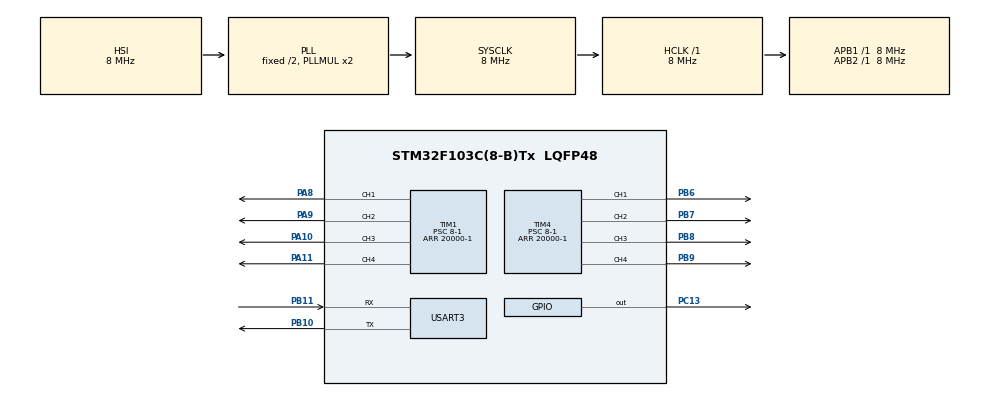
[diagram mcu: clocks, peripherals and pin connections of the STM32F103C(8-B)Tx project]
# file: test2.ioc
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Mcu.Family=STM32F1
Mcu.Name=STM32F103C(8-B)Tx
Mcu.Package=LQFP48
NVIC.PriorityGroup=NVIC_PRIORITYGROUP_4
NVIC.USART3_IRQn=true\:0\:0\:false\:false\:true\:true\:true
PA10.Signal=S_TIM1_CH3
PA11.Signal=S_TIM1_CH4
PA13.Mode=Serial_Wire
PA13.Signal=SYS_JTMS-SWDIO
PA14.Mode=Serial_Wire
PA14.Signal=SYS_JTCK-SWCLK
PA8.Signal=S_TIM1_CH1
PA9.Signal=S_TIM1_CH2
PB10.Mode=Asynchronous
PB10.Signal=USART3_TX
PB11.Mode=Asynchronous
PB11.Signal=USART3_RX
PB6.Signal=S_TIM4_CH1
PB7.Signal=S_TIM4_CH2
PB8.Signal=S_TIM4_CH3
PB9.Signal=S_TIM4_CH4
PC13-TAMPER-RTC.Signal=GPIO_Output
PC14-OSC32_IN.Mode=LSE-External-Oscillator
PC14-OSC32_IN.Signal=RCC_OSC32_IN
PC15-OSC32_OUT.Mode=LSE-External-Oscillator
PC15-OSC32_OUT.Signal=RCC_OSC32_OUT
PD0-OSC_IN.Mode=HSE-External-Oscillator
PD0-OSC_IN.Signal=RCC_OSC_IN
PD1-OSC_OUT.Mode=HSE-External-Oscillator
PD1-OSC_OUT.Signal=RCC_OSC_OUT
ProjectManager.HeapSize=0x200
ProjectManager.StackSize=0x400
ProjectManager.TargetToolchain=SW4STM32
RCC.AHBFreq_Value=8000000
RCC.APB1Freq_Value=8000000
RCC.APB1TimFreq_Value=8000000
RCC.APB2Freq_Value=8000000
RCC.APB2TimFreq_Value=8000000
RCC.HCLKFreq_Value=8000000
RCC.SYSCLKFreq_VALUE=8000000
RCC.SYSCLKSource=RCC_SYSCLKSOURCE_PLLCLK
RCC.USBFreq_Value=8000000
SH.S_TIM1_CH1.0=TIM1_CH1,PWM Generation1 CH1
SH.S_TIM1_CH2.0=TIM1_CH2,PWM Generation2 CH2
SH.S_TIM1_CH3.0=TIM1_CH3,PWM Generation3 CH3
SH.S_TIM1_CH4.0=TIM1_CH4,PWM Generation4 CH4
SH.S_TIM4_CH1.0=TIM4_CH1,PWM Generation1 CH1
SH.S_TIM4_CH2.0=TIM4_CH2,PWM Generation2 CH2
SH.S_TIM4_CH3.0=TIM4_CH3,PWM Generation3 CH3
SH.S_TIM4_CH4.0=TIM4_CH4,PWM Generation4 CH4
TIM1.Channel-PWM\ Generation1\ CH1=TIM_CHANNEL_1
TIM1.Channel-PWM\ Generation2\ CH2=TIM_CHANNEL_2
TIM1.Channel-PWM\ Generation3\ CH3=TIM_CHANNEL_3
TIM1.Channel-PWM\ Generation4\ CH4=TIM_CHANNEL_4
TIM1.OCMode_PWM-PWM\ Generation1\ CH1=TIM_OCMODE_PWM2
TIM1.OCMode_PWM-PWM\ Generation2\ CH2=TIM_OCMODE_PWM2
TIM1.OCMode_PWM-PWM\ Generation3\ CH3=TIM_OCMODE_PWM2
TIM1.OCMode_PWM-PWM\ Generation4\ CH4=TIM_OCMODE_PWM2
TIM1.OCPolarity_1=TIM_OCPOLARITY_LOW
TIM1.OCPolarity_2=TIM_OCPOLARITY_LOW
TIM1.OCPolarity_3=TIM_OCPOLARITY_LOW
TIM1.OCPolarity_4=TIM_OCPOLARITY_LOW
TIM1.Period=20000-1
TIM1.Prescaler=8-1
TIM1.Pulse-PWM\ Generation1\ CH1=2000
TIM1.Pulse-PWM\ Generation2\ CH2=2000
TIM1.Pulse-PWM\ Generation3\ CH3=2000
TIM1.Pulse-PWM\ Generation4\ CH4=2000
TIM4.Channel-PWM\ Generation1\ CH1=TIM_CHANNEL_1
TIM4.Channel-PWM\ Generation2\ CH2=TIM_CHANNEL_2
TIM4.Channel-PWM\ Generation3\ CH3=TIM_CHANNEL_3
TIM4.Channel-PWM\ Generation4\ CH4=TIM_CHANNEL_4
TIM4.Period=20000-1
TIM4.Prescaler=8-1
TIM4.Pulse-PWM\ Generation1\ CH1=2000
TIM4.Pulse-PWM\ Generation2\ CH2=2000
TIM4.Pulse-PWM\ Generation3\ CH3=2000
TIM4.Pulse-PWM\ Generation4\ CH4=2000
USART3.VirtualMode=VM_ASYNC
board=custom

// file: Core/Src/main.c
/* USER CODE BEGIN Header */
/**
  ******************************************************************************
  * @file           : main.c
  * @brief          : Main program body
  ******************************************************************************
  * @attention
  *
  * Copyright (c) 2022 STMicroelectronics.
  * All rights reserved.
  *
  * This software is licensed under terms that can be found in the LICENSE file
  * in the root directory of this software component.
  * If no LICENSE file comes with this software, it is provided AS-IS.
  *
  ******************************************************************************
  */
/* USER CODE END Header */
#include "main.h"

TIM_HandleTypeDef htim1;
TIM_HandleTypeDef htim4;

UART_HandleTypeDef huart3;

/* USER CODE BEGIN PV */

FIFO_One_str One_str;

Pos_Servo ServoA={
		.letter_Servo='A',
		.htim=SERVO_A_HTIM1,
		.pinEn = SERVO_A_CHANNEL1,
		.Min=0,
		.Max=105,
		.current=700,
		.new_angle=1000,
		.defta=1,
};

Pos_Servo ServoB={
		.letter_Servo='B',
		.htim=SERVO_A_HTIM1,
		.pinEn = SERVO_A_CHANNEL2,
		.Min=30,
		.Max=95,
		.current=700,
		.new_angle=1000,
		.defta=1,
};

Pos_Servo ServoC={
		.letter_Servo='C',
		.htim=SERVO_A_HTIM1,
		.pinEn = SERVO_A_CHANNEL3,
		.Min=20,
		.Max=80,
		.current=700,
		.new_angle=1000,
		.defta=1,
};

Pos_Servo ServoD={
		.letter_Servo='D',
		.htim=SERVO_A_HTIM4,
		.pinEn = SERVO_A_CHANNEL1,
		.Min=0,
		.Max=110,
		.current=520,
		.new_angle=1000,
		.defta=1,
};

Pos_Servo ServoE={

		.letter_Servo='E',
		.htim=SERVO_A_HTIM4,
		.pinEn = SERVO_A_CHANNEL2,
		.Min=10,
		.Max=140,
		.current=520,
		.new_angle=1000,
		.defta=1,
};

Pos_Servo ServoF={
		.letter_Servo='F',
		.htim=SERVO_A_HTIM4,
		.pinEn = SERVO_A_CHANNEL3,
		.Min=0,
		.Max=145,
		.current=520,
		.new_angle=1000,
		.defta=1,
};

FIFO_Buf buf = {
	.len = 100,
	.posRead = 0,
	.posWrite = 0,
	.Chek = 0,
};

/* USER CODE END PV */

void SystemClock_Config(void);
static void MX_GPIO_Init(void);
static void MX_USART3_UART_Init(void);
static void MX_TIM1_Init(void);
static void MX_TIM4_Init(void);
/* USER CODE BEGIN PFP */

uint8_t Buf_Read(FIFO_Buf *buf);
void Buf_Write(FIFO_Buf *buf, uint8_t data);
uint8_t Check_Buf(FIFO_Buf *buf);
uint8_t Parser_Buf(FIFO_Buf *buf);
uint8_t Servo_Control(Pos_Servo *Pos_Servo);
void setPWM(uint16_t value, Pos_Servo *Servo);
uint16_t Transfer_To_The_Range(uint8_t angel , uint8_t Min, uint8_t Max);
void Servo_Processing(Pos_Servo *Servo, uint8_t *v);

void Read_Buf_Str(FIFO_Buf *buf, FIFO_One_str *str);
//void Read_Comand(FIFO_Buf *buf);

/* USER CODE END PFP */

int main(void)
{

  /* MCU Configuration--------------------------------------------------------*/

  /* Reset of all peripherals, Initializes the Flash interface and the Systick. */
  HAL_Init();

  /* Configure the system clock */
  SystemClock_Config();

  /* Initialize all configured peripherals */
  MX_GPIO_Init();
  MX_USART3_UART_Init();
  MX_TIM1_Init();
  MX_TIM4_Init();
  /* USER CODE BEGIN 2 */

    HAL_TIM_PWM_Start(&htim1, TIM_CHANNEL_1); // ServoA.htim, ServoA.pinEn);
    HAL_TIM_PWM_Start(&htim1, TIM_CHANNEL_2);
    HAL_TIM_PWM_Start(&htim1, TIM_CHANNEL_3);
    HAL_TIM_PWM_Start(&htim1, TIM_CHANNEL_4);

    HAL_TIM_PWM_Start(&htim4, TIM_CHANNEL_1);
    HAL_TIM_PWM_Start(&htim4, TIM_CHANNEL_2);
    HAL_TIM_PWM_Start(&htim4, TIM_CHANNEL_3);
    HAL_TIM_PWM_Start(&htim4, TIM_CHANNEL_4);

	USART3 -> CR1 |= USART_CR1_RXNEIE;

  /* USER CODE END 2 */

  /* Infinite loop */
  /* USER CODE BEGIN WHILE */

  while (1)
  {

   //получение строки из кольцевого буфера

	if(buf.Chek>0){
		Read_Buf_Str(&buf,&One_str);
	}

	//парсер команды, запись команд в определенные структуры

	if(buf.Chek>0){
	  Parser_Buf(&buf);
	}

	//обработка сервисных команд

	//проверка наличия новых положения сервоприводов

	Servo_Control(&ServoA);
	Servo_Control(&ServoB);
	Servo_Control(&ServoC);
	Servo_Control(&ServoD);
	Servo_Control(&ServoE);
	Servo_Control(&ServoF);

	//проверка для верхнего уровня

    /* USER CODE END WHILE */

  }
}

void SystemClock_Config(void)
{
  RCC_OscInitTypeDef RCC_OscInitStruct = {0};
  RCC_ClkInitTypeDef RCC_ClkInitStruct = {0};

  /** Initializes the RCC Oscillators according to the specified parameters
  * in the RCC_OscInitTypeDef structure.
  */
  RCC_OscInitStruct.OscillatorType = RCC_OSCILLATORTYPE_HSI;
  RCC_OscInitStruct.HSIState = RCC_HSI_ON;
  RCC_OscInitStruct.HSICalibrationValue = RCC_HSICALIBRATION_DEFAULT;
  RCC_OscInitStruct.PLL.PLLState = RCC_PLL_ON;
  RCC_OscInitStruct.PLL.PLLSource = RCC_PLLSOURCE_HSI_DIV2;
  RCC_OscInitStruct.PLL.PLLMUL = RCC_PLL_MUL2;
  if (HAL_RCC_OscConfig(&RCC_OscInitStruct) != HAL_OK)
  {
    Error_Handler();
  }
  /** Initializes the CPU, AHB and APB buses clocks
  */
  RCC_ClkInitStruct.ClockType = RCC_CLOCKTYPE_HCLK|RCC_CLOCKTYPE_SYSCLK
                              |RCC_CLOCKTYPE_PCLK1|RCC_CLOCKTYPE_PCLK2;
  RCC_ClkInitStruct.SYSCLKSource = RCC_SYSCLKSOURCE_PLLCLK;
  RCC_ClkInitStruct.AHBCLKDivider = RCC_SYSCLK_DIV1;
  RCC_ClkInitStruct.APB1CLKDivider = RCC_HCLK_DIV1;
  RCC_ClkInitStruct.APB2CLKDivider = RCC_HCLK_DIV1;

  if (HAL_RCC_ClockConfig(&RCC_ClkInitStruct, FLASH_LATENCY_0) != HAL_OK)
  {
    Error_Handler();
  }
}

static void MX_TIM1_Init(void)
{

  TIM_MasterConfigTypeDef sMasterConfig = {0};
  TIM_OC_InitTypeDef sConfigOC = {0};
  TIM_BreakDeadTimeConfigTypeDef sBreakDeadTimeConfig = {0};

  htim1.Instance = TIM1;
  htim1.Init.Prescaler = 8-1;
  htim1.Init.CounterMode = TIM_COUNTERMODE_UP;
  htim1.Init.Period = 20000-1;
  htim1.Init.ClockDivision = TIM_CLOCKDIVISION_DIV1;
  htim1.Init.RepetitionCounter = 0;
  htim1.Init.AutoReloadPreload = TIM_AUTORELOAD_PRELOAD_DISABLE;
  if (HAL_TIM_PWM_Init(&htim1) != HAL_OK)
  {
    Error_Handler();
  }
  sMasterConfig.MasterOutputTrigger = TIM_TRGO_RESET;
  sMasterConfig.MasterSlaveMode = TIM_MASTERSLAVEMODE_DISABLE;
  if (HAL_TIMEx_MasterConfigSynchronization(&htim1, &sMasterConfig) != HAL_OK)
  {
    Error_Handler();
  }
  sConfigOC.OCMode = TIM_OCMODE_PWM2;
  sConfigOC.Pulse = 2000;
  sConfigOC.OCPolarity = TIM_OCPOLARITY_LOW;
  sConfigOC.OCNPolarity = TIM_OCNPOLARITY_HIGH;
  sConfigOC.OCFastMode = TIM_OCFAST_DISABLE;
  sConfigOC.OCIdleState = TIM_OCIDLESTATE_RESET;
  sConfigOC.OCNIdleState = TIM_OCNIDLESTATE_RESET;
  if (HAL_TIM_PWM_ConfigChannel(&htim1, &sConfigOC, TIM_CHANNEL_1) != HAL_OK)
  {
    Error_Handler();
  }
  if (HAL_TIM_PWM_ConfigChannel(&htim1, &sConfigOC, TIM_CHANNEL_2) != HAL_OK)
  {
    Error_Handler();
  }
  if (HAL_TIM_PWM_ConfigChannel(&htim1, &sConfigOC, TIM_CHANNEL_3) != HAL_OK)
  {
    Error_Handler();
  }
  if (HAL_TIM_PWM_ConfigChannel(&htim1, &sConfigOC, TIM_CHANNEL_4) != HAL_OK)
  {
    Error_Handler();
  }
  sBreakDeadTimeConfig.OffStateRunMode = TIM_OSSR_DISABLE;
  sBreakDeadTimeConfig.OffStateIDLEMode = TIM_OSSI_DISABLE;
  sBreakDeadTimeConfig.LockLevel = TIM_LOCKLEVEL_OFF;
  sBreakDeadTimeConfig.DeadTime = 0;
  sBreakDeadTimeConfig.BreakState = TIM_BREAK_DISABLE;
  sBreakDeadTimeConfig.BreakPolarity = TIM_BREAKPOLARITY_HIGH;
  sBreakDeadTimeConfig.AutomaticOutput = TIM_AUTOMATICOUTPUT_DISABLE;
  if (HAL_TIMEx_ConfigBreakDeadTime(&htim1, &sBreakDeadTimeConfig) != HAL_OK)
  {
    Error_Handler();
  }
  HAL_TIM_MspPostInit(&htim1);

}

static void MX_TIM4_Init(void)
{

  TIM_MasterConfigTypeDef sMasterConfig = {0};
  TIM_OC_InitTypeDef sConfigOC = {0};

  htim4.Instance = TIM4;
  htim4.Init.Prescaler = 8-1;
  htim4.Init.CounterMode = TIM_COUNTERMODE_UP;
  htim4.Init.Period = 20000-1;
  htim4.Init.ClockDivision = TIM_CLOCKDIVISION_DIV1;
  htim4.Init.AutoReloadPreload = TIM_AUTORELOAD_PRELOAD_DISABLE;
  if (HAL_TIM_PWM_Init(&htim4) != HAL_OK)
  {
    Error_Handler();
  }
  sMasterConfig.MasterOutputTrigger = TIM_TRGO_RESET;
  sMasterConfig.MasterSlaveMode = TIM_MASTERSLAVEMODE_DISABLE;
  if (HAL_TIMEx_MasterConfigSynchronization(&htim4, &sMasterConfig) != HAL_OK)
  {
    Error_Handler();
  }
  sConfigOC.OCMode = TIM_OCMODE_PWM1;
  sConfigOC.Pulse = 2000;
  sConfigOC.OCPolarity = TIM_OCPOLARITY_HIGH;
  sConfigOC.OCFastMode = TIM_OCFAST_DISABLE;
  if (HAL_TIM_PWM_ConfigChannel(&htim4, &sConfigOC, TIM_CHANNEL_1) != HAL_OK)
  {
    Error_Handler();
  }
  if (HAL_TIM_PWM_ConfigChannel(&htim4, &sConfigOC, TIM_CHANNEL_2) != HAL_OK)
  {
    Error_Handler();
  }
  if (HAL_TIM_PWM_ConfigChannel(&htim4, &sConfigOC, TIM_CHANNEL_3) != HAL_OK)
  {
    Error_Handler();
  }
  if (HAL_TIM_PWM_ConfigChannel(&htim4, &sConfigOC, TIM_CHANNEL_4) != HAL_OK)
  {
    Error_Handler();
  }
  HAL_TIM_MspPostInit(&htim4);

}

static void MX_USART3_UART_Init(void)
{

  huart3.Instance = USART3;
  huart3.Init.BaudRate = 115200;
  huart3.Init.WordLength = UART_WORDLENGTH_8B;
  huart3.Init.StopBits = UART_STOPBITS_1;
  huart3.Init.Parity = UART_PARITY_NONE;
  huart3.Init.Mode = UART_MODE_TX_RX;
  huart3.Init.HwFlowCtl = UART_HWCONTROL_NONE;
  huart3.Init.OverSampling = UART_OVERSAMPLING_16;
  if (HAL_UART_Init(&huart3) != HAL_OK)
  {
    Error_Handler();
  }

}

static void MX_GPIO_Init(void)
{
  GPIO_InitTypeDef GPIO_InitStruct = {0};

  /* GPIO Ports Clock Enable */
  __HAL_RCC_GPIOC_CLK_ENABLE();
  __HAL_RCC_GPIOD_CLK_ENABLE();
  __HAL_RCC_GPIOB_CLK_ENABLE();
  __HAL_RCC_GPIOA_CLK_ENABLE();

  /*Configure GPIO pin Output Level */
  HAL_GPIO_WritePin(GPIOC, GPIO_PIN_13, GPIO_PIN_RESET);

  /*Configure GPIO pin : PC13 */
  GPIO_InitStruct.Pin = GPIO_PIN_13;
  GPIO_InitStruct.Mode = GPIO_MODE_OUTPUT_PP;
  GPIO_InitStruct.Pull = GPIO_NOPULL;
  GPIO_InitStruct.Speed = GPIO_SPEED_FREQ_LOW;
  HAL_GPIO_Init(GPIOC, &GPIO_InitStruct);

}

/* USER CODE BEGIN 4 */
void Servo_Processing(Pos_Servo *Servo, uint8_t *angle)
{
	 if(Servo->Max <= *angle){
		*angle=Servo->Max;
	}
	else if(Servo->Min >= *angle){
		*angle=Servo->Min;
	}
	Servo->new_angle=Transfer_To_The_Range(*angle , 0, 180);
	*angle=0;
}
uint8_t Parser_Buf(FIFO_Buf *buf){

	buf->Chek=0;
	uint8_t i = 0;
	uint8_t v = 0;
	while((buf->bufData[i-1] != '\r') && (buf->bufData[i] != '\n') && (i < buf->len)){

		switch (buf->bufData[i]) {

			 case '0':
			 case '1':
			 case '2':
			 case '3':
			 case '4':
			 case '5':
			 case '6':
			 case '7':
			 case '8':
			 case '9':
					 v = v * 10 + (buf->bufData[i] - '0');
				 break;
			 case 'A':
			 case 'a':
				 Servo_Processing(&ServoA, &v);
				 break;
			 case 'B':
			 case 'b':
				 Servo_Processing(&ServoB, &v);
				 break;
			 case 'C':
			 case 'c':
				 Servo_Processing(&ServoC, &v);
				break;
			 case 'D':
			 case 'd':
				 Servo_Processing(&ServoD, &v);
				break;
			 case 'E':
			 case 'e':
				 Servo_Processing(&ServoE, &v);
				break;
			 case 'F':
			 case 'f':
				 Servo_Processing(&ServoF, &v);
			 	break;
			 default:
				// HAL_UART_Transmit_IT(&huart3, &p, 1);
				 break;
		}

		i++;
	}

	//ReadBufStr(buf);

	return 0;
}

uint8_t Buf_Read(FIFO_Buf *buf){

	uint8_t type = buf->bufData[buf->posRead];
	buf->posRead += 1;

	if( buf->posRead >= buf->len ){
		buf->posRead=0;
	}

	return type;

}

void Buf_Write(FIFO_Buf *buf, uint8_t data){

	//uint8_t sss = '8';

	//buf->bufData[buf->posWrite] = data;
	//HAL_UART_Transmit_IT(&huart3, &sss, 1);

	buf->bufData[buf->posWrite] = data;
	if((buf->bufData[buf->posWrite] == '\n') && (buf->bufData[buf->posWrite-1] == '\r')){
		//HAL_UART_Transmit_IT(&huart3, &sss, 1);
		buf->Chek += 1;
	}

	buf->posWrite += 1;

	if( buf->posWrite >= buf->len ){
		buf->posWrite = 0;
	}

}

uint8_t Check_Buf(FIFO_Buf *buf){

	if(buf->posRead != buf->posWrite){
		return 1;
	}
	return 0;
}

void Read_Buf_Str(FIFO_Buf *buf,FIFO_One_str *str){

    uint8_t pos = 0;
	while( Check_Buf(buf) == 1)
		{
			//X = Buf_Read(buf);
			str->Buf[pos] = Buf_Read(buf);//while( HAL_UART_Transmit_IT(&huart3, &X, 1) == HAL_BUSY );
			pos++;
			// TODO обработка длины строки больше чем в str
		}

}

uint8_t Servo_Control(Pos_Servo *Servo){

	if(Servo->current != Servo->new_angle ){

	    		Servo->current+=Servo->defta;
	    		setPWM(Servo->current, Servo);
	    	}
	    	if(Servo->current != Servo->new_angle){

	    	  if(Servo->current < Servo->new_angle){

	    		Servo->current+=Servo->defta;
	    		if(Servo->current>Servo->new_angle){
	    			Servo->current=Servo->new_angle;
	    		}
	    		setPWM(Servo->current, Servo);
	    		HAL_Delay(10);
	    	    }

	    	   else{

	    		 Servo->current-=Servo->defta;
	    		 if(Servo->current<Servo->new_angle){
	    		     Servo->current=Servo->new_angle;
	    		 }
	    		 setPWM(Servo->current, Servo);
	    		 HAL_Delay(10);
	    	   }

	    	}

	  return 0;
}

void setPWM(uint16_t value, Pos_Servo *Servo)
{
	switch (Servo->pinEn) {

				 case TIM_CHANNEL_1:
					 Servo->htim->Instance->CCR1 = value;
					 break;
				 case TIM_CHANNEL_2:
					 Servo->htim->Instance->CCR2 = value;
				 	 break;
				 case TIM_CHANNEL_3:
					 Servo->htim->Instance->CCR3 = value;
				 	 break;
				 case TIM_CHANNEL_4:
					 Servo->htim->Instance->CCR4 = value;
				 	 break;

				 default:
					break;
	}

	////TIM1->CCR1 = value;
	//TIM1->CCR2 = value;
	//TIM1->CCR3 = value;
	//TIM1->CCR4 = value;

	//TIM4->CCR1 = value;
	//TIM4->CCR2 = value;
	//TIM4->CCR3 = value;
	//TIM4->CCR4 = value;
}

uint16_t Transfer_To_The_Range(uint8_t angle , uint8_t Min, uint8_t Max){

	 return 520 + ((2150 - 520) * (100 * (angle - Min) / (Max - Min))) / 100;
}

/* USER CODE END 4 */

void Error_Handler(void)
{
  __disable_irq();
  while (1)
  {
  }
}
